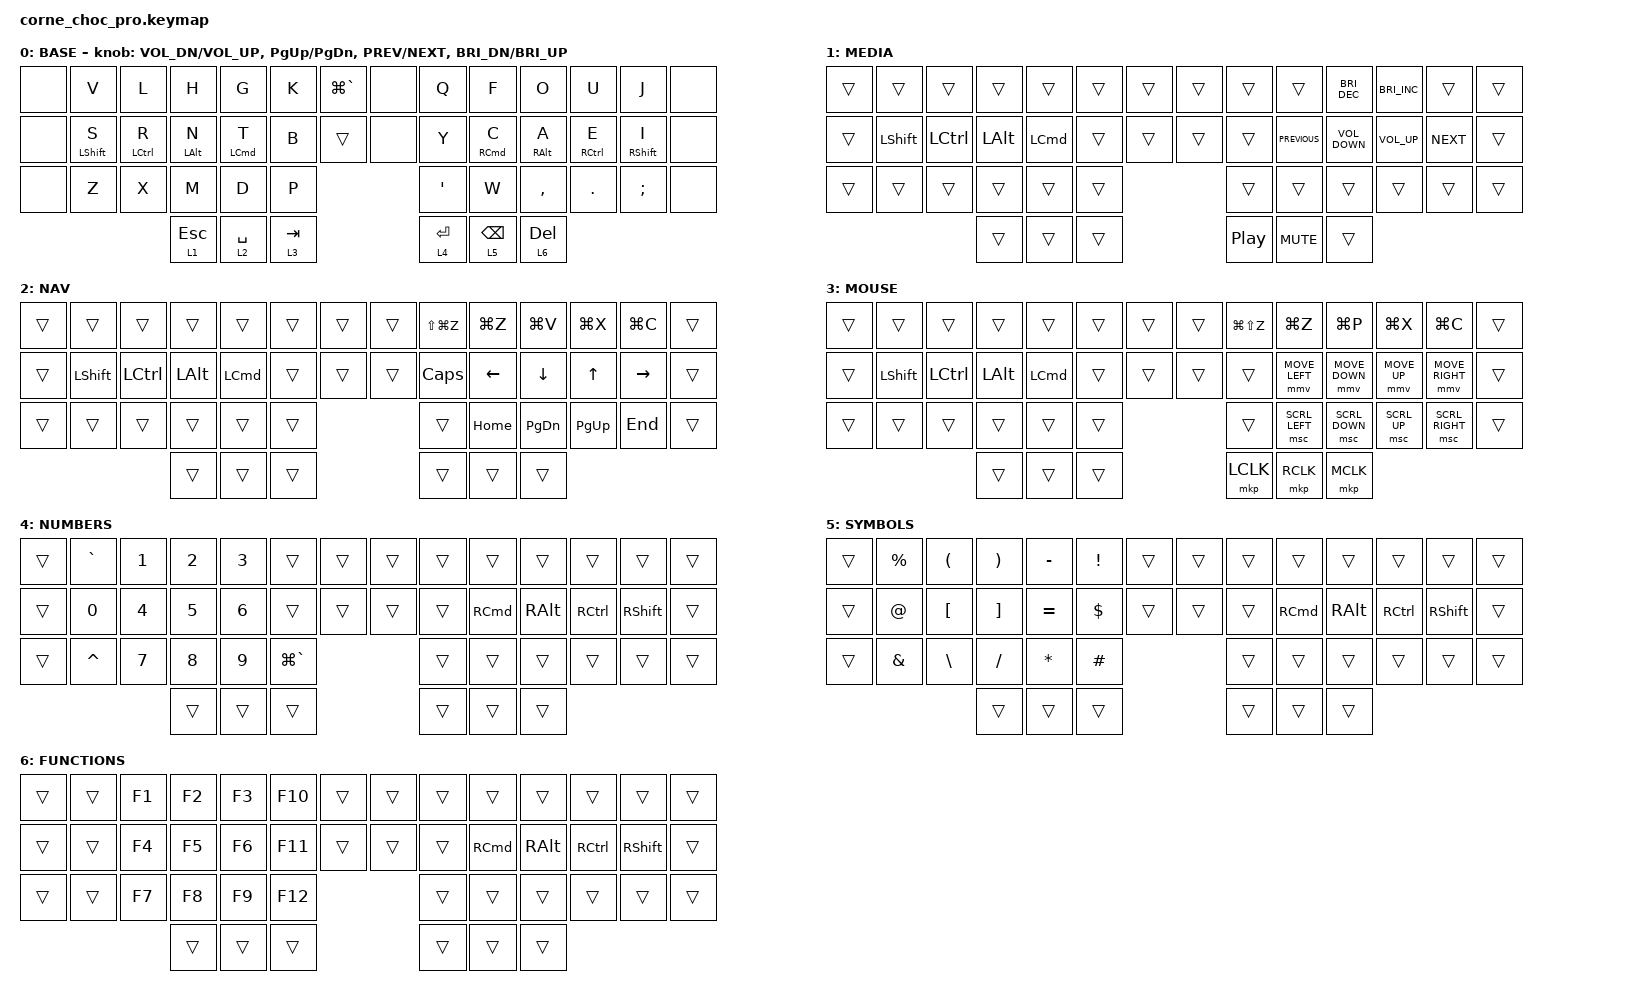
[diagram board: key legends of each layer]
/*
 * Copyright (c) 2020 The ZMK Contributors
 *
 * SPDX-License-Identifier: MIT
 */

#include <behaviors.dtsi>
#include <dt-bindings/zmk/keys.h>

#define ZMK_POINTING_DEFAULT_MOVE_VAL 1500  // default: 600
#define ZMK_POINTING_DEFAULT_SCRL_VAL 20    // default: 10

#include <dt-bindings/zmk/pointing.h>

/ {
    chosen { zmk,physical-layout = &default_layout; };
};

/ {
    behaviors {
        home_row_mod_left: home_row_mod_left {
            compatible = "zmk,behavior-hold-tap";
            label = "HOME_ROW_MOD_LEFT";
            bindings = <&kp>, <&kp>;

            #binding-cells = <2>;
            tapping-term-ms = <280>;
            quick-tap-ms = <175>;
            require-prior-idle-ms = <150>;
            flavor = "balanced";
            hold-trigger-on-release;
            hold-trigger-key-positions = <7 8 9 10 11 7 8 9 10 11 12 13 21 22 23 24 25 26 27 34 35 36 37 38 39 43 44 45>;
        };

        home_row_mod_right: home_row_mod_right {
            compatible = "zmk,behavior-hold-tap";
            label = "HOME_ROW_MOD_RIGHT";
            bindings = <&kp>, <&kp>;

            #binding-cells = <2>;
            tapping-term-ms = <280>;
            quick-tap-ms = <175>;
            require-prior-idle-ms = <150>;
            flavor = "balanced";
            hold-trigger-on-release;
            hold-trigger-key-positions = <0 1 2 3 4 5 6 14 15 16 17 18 19 20 28 29 30 31 32 33 40 41 42>;
        };
    };

    keymap {
        compatible = "zmk,keymap";

        base {
            display-name = "BASE";

            // --------------------------------------------------------------------------------
            // |  TAB |  Q  |  W  |  E  |  R  |  T  |  MUTE |  PP   |  Y  |  U   |  I  |  O  |  P  | BSPC |
            // | CTRL |  A  |  S  |  D  |  F  |  G  |  LALT |  RALT |  H  |  J   |  K  |  L  |  ;  |  '   |
            // | SHFT |  Z  |  X  |  C  |  V  |  B  |               |  N  |  M   |  ,  |  .  |  /  | ESC  |
            //                    | GUI | LWR | SPC |               | ENT | RSE  | ALT |

            bindings = <
&none  &kp V                            &kp L                              &kp H                          &kp G                              &kp K      &kp LG(GRAVE)  &none  &kp Q             &kp F                                &kp O                            &kp U                                &kp J                              &none
&none  &home_row_mod_left LEFT_SHIFT S  &home_row_mod_left LEFT_CONTROL R  &home_row_mod_left LEFT_ALT N  &home_row_mod_left LEFT_COMMAND T  &kp B      &trans         &none  &kp Y             &home_row_mod_right RIGHT_COMMAND C  &home_row_mod_right RIGHT_ALT A  &home_row_mod_right RIGHT_CONTROL E  &home_row_mod_right RIGHT_SHIFT I  &none
&none  &kp Z                            &kp X                              &kp M                          &kp D                              &kp P                            &kp SINGLE_QUOTE  &kp W                                &kp COMMA                        &kp DOT                              &kp SEMICOLON                      &none
                                                                           &lt 1 ESCAPE                   &lt 2 SPACE                        &lt 3 TAB                        &lt 4 RET         &lt 5 BACKSPACE                      &lt 6 DELETE
            >;

            sensor-bindings = <&inc_dec_kp C_VOL_DN C_VOL_UP &inc_dec_kp PG_UP PG_DN &inc_dec_kp C_PREV C_NEXT &inc_dec_kp C_BRI_DN C_BRI_UP>;
        };

        media {
            display-name = "MEDIA";
            bindings = <
&trans  &trans          &trans            &trans        &trans            &trans  &trans  &trans  &trans            &trans          &kp C_BRIGHTNESS_DEC  &kp C_BRIGHTNESS_INC  &trans      &trans
&trans  &kp LEFT_SHIFT  &kp LEFT_CONTROL  &kp LEFT_ALT  &kp LEFT_COMMAND  &trans  &trans  &trans  &trans            &kp C_PREVIOUS  &kp C_VOLUME_DOWN     &kp C_VOLUME_UP       &kp C_NEXT  &trans
&trans  &trans          &trans            &trans        &trans            &trans                  &trans            &trans          &trans                &trans                &trans      &trans
                                          &trans        &trans            &trans                  &kp C_PLAY_PAUSE  &kp C_MUTE      &trans
            >;
        };

        nav {
            display-name = "NAV";
            bindings = <
&trans  &trans          &trans            &trans        &trans            &trans  &trans  &trans  &kp LS(LG(Z))  &kp LG(Z)  &kp LG(V)      &kp LG(X)    &kp LG(C)  &trans
&trans  &kp LEFT_SHIFT  &kp LEFT_CONTROL  &kp LEFT_ALT  &kp LEFT_COMMAND  &trans  &trans  &trans  &kp CAPSLOCK   &kp LEFT   &kp DOWN       &kp UP       &kp RIGHT  &trans
&trans  &trans          &trans            &trans        &trans            &trans                  &trans         &kp HOME   &kp PAGE_DOWN  &kp PAGE_UP  &kp END    &trans
                                          &trans        &trans            &trans                  &trans         &trans     &trans
            >;
        };

        mouse {
            display-name = "MOUSE";
            bindings = <
&trans  &trans          &trans            &trans        &trans            &trans  &trans  &trans  &kp LG(LS(Z))  &kp LG(Z)       &kp LG(P)       &kp LG(X)     &kp LG(C)        &trans
&trans  &kp LEFT_SHIFT  &kp LEFT_CONTROL  &kp LEFT_ALT  &kp LEFT_COMMAND  &trans  &trans  &trans  &trans         &mmv MOVE_LEFT  &mmv MOVE_DOWN  &mmv MOVE_UP  &mmv MOVE_RIGHT  &trans
&trans  &trans          &trans            &trans        &trans            &trans                  &trans         &msc SCRL_LEFT  &msc SCRL_DOWN  &msc SCRL_UP  &msc SCRL_RIGHT  &trans
                                          &trans        &trans            &trans                  &mkp LCLK      &mkp RCLK       &mkp MCLK
            >;
        };

        numbers {
            display-name = "NUMBERS";
            bindings = <
&trans  &kp GRAVE     &kp NUMBER_1  &kp NUMBER_2  &kp NUMBER_3  &trans         &trans  &trans  &trans  &trans             &trans         &trans             &trans           &trans
&trans  &kp NUMBER_0  &kp NUMBER_4  &kp N5        &kp NUMBER_6  &trans         &trans  &trans  &trans  &kp RIGHT_COMMAND  &kp RIGHT_ALT  &kp RIGHT_CONTROL  &kp RIGHT_SHIFT  &trans
&trans  &kp CARET     &kp NUMBER_7  &kp NUMBER_8  &kp NUMBER_9  &kp LG(GRAVE)                  &trans  &trans             &trans         &trans             &trans           &trans
                                    &trans        &trans        &trans                         &trans  &trans             &trans
            >;
        };

        symbols {
            display-name = "SYMBOLS";
            bindings = <
&trans  &kp PERCENT    &kp LEFT_PARENTHESIS  &kp RIGHT_PARENTHESIS  &kp MINUS  &kp EXCLAMATION  &trans  &trans  &trans  &trans             &trans         &trans             &trans           &trans
&trans  &kp AT         &kp LEFT_BRACKET      &kp RIGHT_BRACKET      &kp EQUAL  &kp DOLLAR       &trans  &trans  &trans  &kp RIGHT_COMMAND  &kp RIGHT_ALT  &kp RIGHT_CONTROL  &kp RIGHT_SHIFT  &trans
&trans  &kp AMPERSAND  &kp BACKSLASH         &kp SLASH              &kp STAR   &kp POUND                        &trans  &trans             &trans         &trans             &trans           &trans
                                             &trans                 &trans     &trans                           &trans  &trans             &trans
            >;
        };

        functions {
            display-name = "FUNCTIONS";
            bindings = <
&trans  &trans  &kp F1  &kp F2  &kp F3  &kp F10  &trans  &trans  &trans  &trans             &trans         &trans             &trans           &trans
&trans  &trans  &kp F4  &kp F5  &kp F6  &kp F11  &trans  &trans  &trans  &kp RIGHT_COMMAND  &kp RIGHT_ALT  &kp RIGHT_CONTROL  &kp RIGHT_SHIFT  &trans
&trans  &trans  &kp F7  &kp F8  &kp F9  &kp F12                  &trans  &trans             &trans         &trans             &trans           &trans
                        &trans  &trans  &trans                   &trans  &trans             &trans
            >;
        };
    };
};
